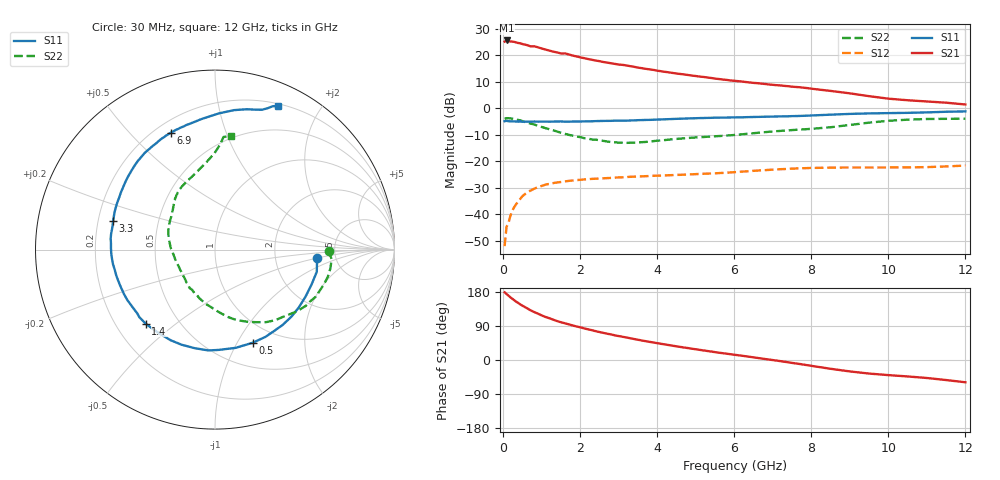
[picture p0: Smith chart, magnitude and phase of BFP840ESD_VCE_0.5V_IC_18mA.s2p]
! Infineon Technologies  Discrete & RF Semiconductors
! BFP840ESD
! VCE =  0.5 V,  IC =  18 mA
! Common Emitter S-Parameters:  May 2012
# GHz  S  MA  R  50
!  f  S11  S21  S12  S22
! GHz  MAG  ANG  MAG  ANG  MAG  ANG  MAG  ANG
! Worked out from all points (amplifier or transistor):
!   93 points, 30 MHz to 12 GHz, reference 50 ohm
!   highest |S21| = 25.6 dB at 80 MHz (marker M1)
!   |S21| within 3 dB of that: start of sweep to 985.5 MHz
!   unconditionally stable (mu >= 1): start of sweep to 234.3 MHz; 2.801 GHz to end of sweep
!   at 1.1 GHz: K = 0.61, MSG = 25.5 dB, |S12| = -28.8 dB
!   at 4.2 GHz: K = 1.24, MAG = 16.6 dB, |S12| = -25.3 dB
!   at 12 GHz: K = 1.11, MAG = 9.5 dB, |S12| = -21.6 dB
!   S11 on the Smith chart (normalised r, x): 30 MHz: 3.58, -0.50; 500 MHz: 0.77, -1.16; 1.4 GHz: 0.33, -0.39; 3.3 GHz: 0.26, +0.13; 6.9 GHz: 0.26, +0.66; 12 GHz: 0.22, +1.51
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0.03  0.5706 -4.7  18.16 178.6  0.0025 28.6  0.6337 -0.5
0.08  0.5805 -12.3  19.1 174.1  0.0058 50.7  0.6522 -4.8
0.18  0.5685 -27.4  18.3 165.5  0.0094 64.2  0.6467 -13.5
0.28  0.5664 -41.3  17.96 157.8  0.0137 61.7  0.6274 -21.2
0.33  0.5642 -48.0  17.53 153.8  0.0155 61.9  0.6197 -25.1
0.5  0.5598 -68.0  16.29 143.0  0.0222 57.1  0.5715 -37.1
0.7  0.5592 -87.8  14.83 131.4  0.0279 50.9  0.5175 -49.4
0.8  0.5631 -93.7  14.8 126.5  0.0304 47.6  0.4952 -54.7
1.1  0.5623 -116.1  12.82 113.3  0.0364 40.4  0.4205 -70.3
1.4  0.5649 -133.1  11.32 102.5  0.0399 34.6  0.3636 -82.9
1.5  0.5653 -138.2  10.84 99.4  0.0408 32.9  0.3455 -87.3
1.6  0.5603 -140.6  10.89 96.8  0.0418 31.5  0.3296 -91.4
2.1  0.5662 -161.9  8.84 83.3  0.0455 26.0  0.2732 -111.5
2.6  0.5784 -177.9  7.475 71.4  0.0478 22.1  0.2426 -130.8
3.3  0.5896 164.4  6.233 57.3  0.051 18.0  0.2239 -158.5
4.1  0.6165 146.8  5.01 42.6  0.0539 14.5  0.2487 176.2
5.1  0.6545 131.2  3.972 26.7  0.0578 11.0  0.2851 155.1
6.1  0.6753 119.8  3.255 12.5  0.063 8.3  0.3187 138.3
6.9  0.6964 110.6  2.817 1.2  0.0689 4.0  0.361 128.1
8.5  0.7591 88.4  2.13 -23.2  0.0759 -8.0  0.4396 104.2
10.5  0.8215 71.5  1.42 -43.4  0.0768 -19.0  0.6108 86.3
12  0.8747 66.2  1.182 -58.8  0.083 -24.3  0.6365 81.9
